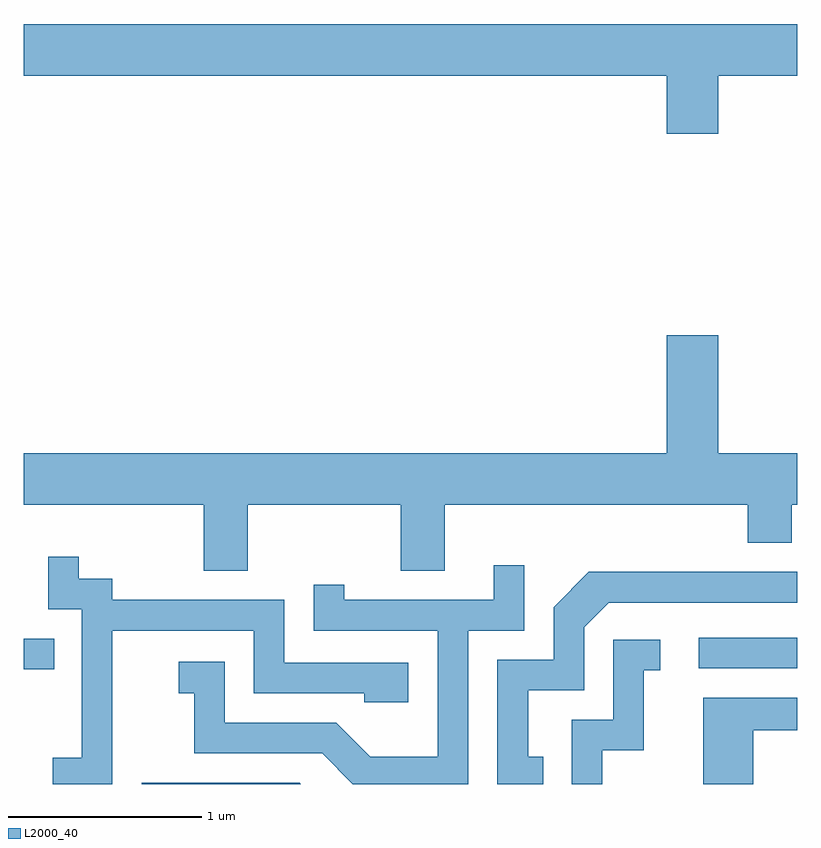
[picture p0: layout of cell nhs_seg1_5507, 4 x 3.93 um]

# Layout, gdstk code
import gdstk
lib = gdstk.Library(unit=1e-6, precision=1e-09)
def R(c, l, rs):  # rectangles x0, y0, x1, y1
    for r in rs: c.add(gdstk.rectangle(r[:2], r[2:], *l))
def P(c, l, *ps):  # polygons
    for p in ps: c.add(gdstk.Polygon(p, *l))
L2000_40 = (2000, 40)

nhs_seg1_5507 = lib.new_cell('nhs_seg1_5507')
R(nhs_seg1_5507, L2000_40, [(351.611,874.306,351.768,874.464), (355.103,874.311,355.611,874.469)])
P(nhs_seg1_5507, L2000_40, [(355.204,877.376),(355.611,877.376),(355.611,877.644),(351.611,877.644),(351.611,877.376),(354.936,877.376),(354.936,877.076),(355.204,877.076)],
  [(352.769,875.156),(353.561,875.156),(353.561,874.816),(353.789,874.816),(353.789,875.156),(355.356,875.156),(355.356,874.961),(355.584,874.961),(355.584,875.156),(355.611,875.156),(355.611,875.424),(355.204,875.424),(355.204,876.034),(354.936,876.034),(354.936,875.424),(351.611,875.424),(351.611,875.156),(352.541,875.156),(352.541,874.816),(352.769,874.816)],
  [(352.069,874.506),(352.801,874.506),(352.801,874.181),(353.371,874.181),(353.371,874.136),(353.599,874.136),(353.599,874.339),(352.959,874.339),(352.959,874.664),(352.069,874.664),(352.069,874.774),(351.894,874.774),(351.894,874.888),(351.736,874.888),(351.736,874.616),(351.911,874.616),(351.911,873.849),(351.761,873.849),(351.761,873.712),(352.069,873.712)],
  [(353.909,874.506),(354.199,874.506),(354.199,874.843),(354.041,874.843),(354.041,874.664),(353.269,874.664),(353.269,874.743),(353.111,874.743),(353.111,874.506),(353.751,874.506),(353.751,873.854),(353.402,873.854),(353.227,874.029),(352.649,874.029),(352.649,874.344),(352.413,874.344),(352.413,874.181),(352.491,874.181),(352.491,873.871),(353.154,873.871),(353.313,873.712),(353.909,873.712)],
  [(354.298,873.854),(354.219,873.854),(354.219,874.196),(354.509,874.196),(354.509,874.524),(354.637,874.651),(355.611,874.651),(355.611,874.809),(354.534,874.809),(354.351,874.627),(354.351,874.354),(354.061,874.354),(354.061,873.712),(354.298,873.712)],
  [(354.604,873.886),(354.819,873.886),(354.819,874.301),(354.903,874.301),(354.903,874.459),(354.661,874.459),(354.661,874.044),(354.446,874.044),(354.446,873.712),(354.604,873.712)],
  [(355.384,873.991),(355.611,873.991),(355.611,874.159),(355.126,874.159),(355.126,873.712),(355.384,873.712)],
  [(353.037,873.719),(352.221,873.719),(352.221,873.712),(353.044,873.712)])

lib.write_gds('nhs_seg1_5507.gds')
